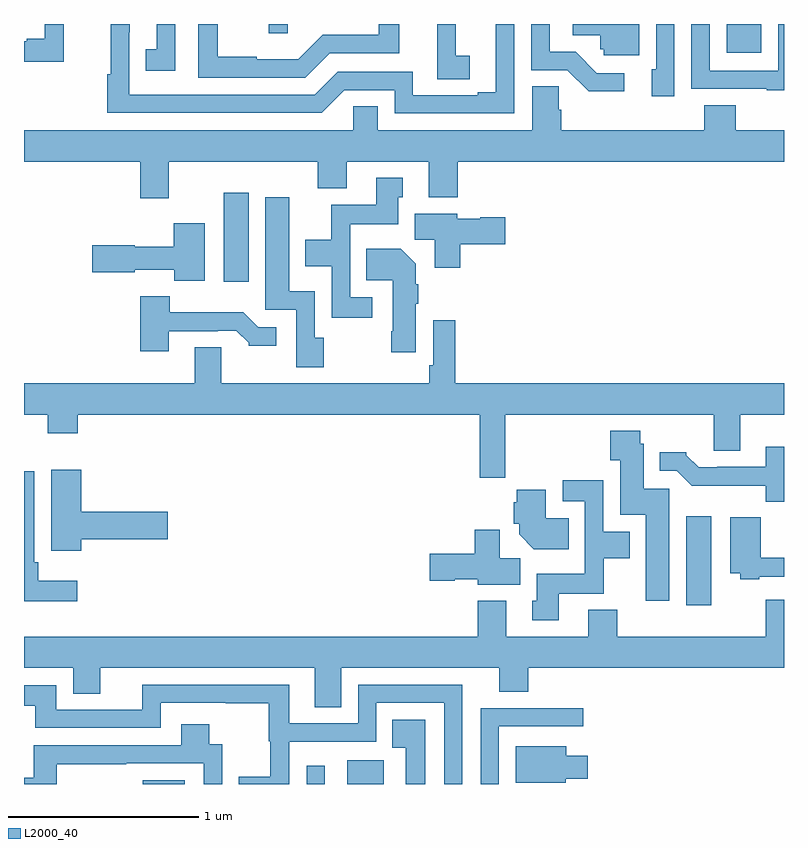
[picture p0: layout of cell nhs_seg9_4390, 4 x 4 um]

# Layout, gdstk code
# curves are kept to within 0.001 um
import gdstk
lib = gdstk.Library(unit=1e-6, precision=1e-09)
def R(c, l, rs):  # rectangles x0, y0, x1, y1
    for r in rs: c.add(gdstk.rectangle(r[:2], r[2:], *l))
def P(c, l, *ps):  # polygons
    for p in ps: c.add(gdstk.Polygon(p, *l))
L2000_40 = (2000, 40)

nhs_seg9_4390 = lib.new_cell('nhs_seg9_4390')
R(nhs_seg9_4390, L2000_40, [(363.624,1170.5,363.847,1170.52), (364.488,1170.5,364.584,1170.595), (364.7,1170.5,364.894,1170.624), (366.485,1171.44,366.616,1171.909), (364.052,1173.144,364.183,1173.613), (366.698,1174.349,366.88,1174.5), (364.288,1174.452,364.389,1174.5)])
P(nhs_seg9_4390, L2000_40, [(366.16,1174.242),(366.015,1174.242),(365.904,1174.353),(365.766,1174.353),(365.766,1174.5),(365.67,1174.5),(365.67,1174.257),(365.859,1174.257),(365.972,1174.145),(366.16,1174.145)],
  [(366.423,1174.5),(366.327,1174.5),(366.327,1174.263),(366.305,1174.263),(366.305,1174.119),(366.423,1174.119)],
  [(365.347,1174.332),(365.273,1174.332),(365.273,1174.5),(365.174,1174.5),(365.174,1174.321),(365.176,1174.321),(365.176,1174.21),(365.347,1174.21)],
  [(363.795,1174.5),(363.698,1174.5),(363.698,1174.367),(363.64,1174.367),(363.64,1174.254),(363.795,1174.254)],
  [(365.58,1174.5),(365.483,1174.5),(365.483,1174.14),(365.387,1174.14),(365.387,1174.125),(365.046,1174.125),(365.046,1174.248),(364.65,1174.248),(364.53,1174.128),(363.555,1174.128),(363.556,1174.5),(363.457,1174.5),(363.457,1174.235),(363.439,1174.235),(363.439,1174.032),(364.566,1174.032),(364.686,1174.152),(364.95,1174.152),(364.95,1174.029),(365.58,1174.029)],
  [(364.608,1174.347),(364.975,1174.347),(364.975,1174.5),(364.868,1174.5),(364.868,1174.443),(364.572,1174.443),(364.444,1174.315),(364.226,1174.315),(364.226,1174.327),(364.019,1174.327),(364.019,1174.5),(363.918,1174.5),(363.918,1174.218),(364.479,1174.218)],
  [(366.238,1174.5),(365.889,1174.5),(365.889,1174.442),(366.033,1174.442),(366.033,1174.368),(366.051,1174.368),(366.051,1174.335),(366.238,1174.335)],
  [(363.21,1174.5),(363.11,1174.5),(363.11,1174.423),(363.014,1174.423),(363.014,1174.41),(363,1174.41),(363,1174.302),(363.21,1174.302)],
  [(367,1174.5),(366.969,1174.5),(366.969,1174.254),(366.609,1174.254),(366.609,1174.5),(366.513,1174.5),(366.513,1174.158),(366.909,1174.158),(366.909,1174.151),(367,1174.151)],
  [(363.763,1173.776),(364.547,1173.776),(364.547,1173.635),(364.699,1173.635),(364.699,1173.776),(365.129,1173.776),(365.129,1173.587),(365.282,1173.587),(365.282,1173.776),(367,1173.776),(367,1173.94),(366.746,1173.94),(366.746,1174.073),(366.581,1174.073),(366.581,1173.94),(365.828,1173.94),(365.828,1174.049),(365.814,1174.049),(365.814,1174.172),(365.675,1174.172),(365.675,1173.94),(364.861,1173.94),(364.861,1174.067),(364.734,1174.067),(364.734,1173.94),(363,1173.94),(363,1173.776),(363.611,1173.776),(363.611,1173.582),(363.763,1173.582)],
  [(364.834,1173.063),(364.716,1173.063),(364.716,1173.446),(364.969,1173.446),(364.969,1173.588),(364.993,1173.588),(364.993,1173.691),(364.853,1173.691),(364.853,1173.55),(364.618,1173.55),(364.618,1173.364),(364.481,1173.364),(364.481,1173.224),(364.62,1173.224),(364.62,1172.955),(364.834,1172.955)],
  [(364.578,1172.85),(364.53,1172.85),(364.53,1173.094),(364.396,1173.094),(364.396,1173.589),(364.271,1173.589),(364.271,1172.997),(364.434,1172.997),(364.434,1172.694),(364.578,1172.694)],
  [(365.297,1173.341),(365.533,1173.341),(365.533,1173.483),(365.4,1173.483),(365.4,1173.475),(365.28,1173.475),(365.28,1173.502),(365.057,1173.502),(365.057,1173.364),(365.162,1173.364),(365.162,1173.216),(365.297,1173.216)],
  [(363.952,1173.451),(363.788,1173.451),(363.788,1173.328),(363.582,1173.328),(363.582,1173.336),(363.36,1173.336),(363.36,1173.194),(363.582,1173.194),(363.582,1173.206),(363.79,1173.206),(363.79,1173.149),(363.952,1173.149)],
  [(365.062,1173.028),(365.075,1173.028),(365.075,1173.131),(365.062,1173.131),(365.062,1173.238),(364.984,1173.316),(364.801,1173.316),(364.801,1173.152),(364.94,1173.152),(364.94,1172.884),(364.933,1172.884),(364.933,1172.772),(365.062,1172.772)],
  [(363.763,1172.883),(364.019,1172.883),(364.019,1172.886),(364.118,1172.886),(364.182,1172.822),(364.182,1172.807),(364.327,1172.807),(364.327,1172.904),(364.233,1172.904),(364.155,1172.983),(363.766,1172.983),(363.766,1173.067),(363.611,1173.067),(363.611,1172.778),(363.763,1172.778)],
  [(365.534,1172.444),(366.629,1172.444),(366.629,1172.254),(366.769,1172.254),(366.769,1172.444),(367,1172.444),(367,1172.608),(365.27,1172.608),(365.27,1172.941),(365.154,1172.941),(365.154,1172.704),(365.134,1172.704),(365.134,1172.608),(364.039,1172.608),(364.039,1172.798),(363.899,1172.798),(363.899,1172.608),(363,1172.608),(363,1172.444),(363.124,1172.444),(363.124,1172.345),(363.284,1172.345),(363.284,1172.444),(365.398,1172.444),(365.398,1172.112),(365.534,1172.112)],
  [(366.397,1172.055),(366.262,1172.055),(366.262,1172.292),(366.243,1172.292),(366.243,1172.359),(366.086,1172.359),(366.086,1172.203),(366.137,1172.203),(366.137,1171.916),(366.272,1171.916),(366.272,1171.464),(366.397,1171.464)],
  [(367,1172.275),(366.905,1172.275),(366.905,1172.169),(366.649,1172.169),(366.649,1172.166),(366.55,1172.166),(366.486,1172.23),(366.486,1172.245),(366.347,1172.245),(366.347,1172.148),(366.435,1172.148),(366.514,1172.07),(366.903,1172.07),(366.903,1171.985),(367,1171.985)],
  [(363.302,1171.787),(363.757,1171.787),(363.757,1171.934),(363.302,1171.934),(363.302,1172.155),(363.143,1172.155),(363.143,1171.728),(363.302,1171.728)],
  [(363.28,1171.57),(363.074,1171.57),(363.074,1171.666),(363.054,1171.666),(363.054,1172.146),(363,1172.146),(363,1171.463),(363.28,1171.463)],
  [(365.815,1171.502),(366.051,1171.502),(366.051,1171.688),(366.187,1171.688),(366.187,1171.828),(366.048,1171.828),(366.048,1172.098),(365.835,1172.098),(365.835,1171.989),(365.952,1171.989),(365.952,1171.606),(365.699,1171.606),(365.699,1171.464),(365.675,1171.464),(365.675,1171.362),(365.815,1171.362)],
  [(365.867,1171.9),(365.746,1171.9),(365.746,1172.05),(365.594,1172.05),(365.594,1171.983),(365.578,1171.983),(365.578,1171.869),(365.606,1171.869),(365.606,1171.814),(365.684,1171.736),(365.867,1171.736)],
  [(366.871,1171.59),(367,1171.59),(367,1171.691),(366.878,1171.691),(366.878,1171.903),(366.716,1171.903),(366.716,1171.61),(366.771,1171.61),(366.771,1171.578),(366.871,1171.578)],
  [(365.611,1171.688),(365.504,1171.688),(365.504,1171.837),(365.372,1171.837),(365.372,1171.712),(365.136,1171.712),(365.136,1171.57),(365.268,1171.57),(365.268,1171.577),(365.388,1171.577),(365.388,1171.55),(365.611,1171.55)],
  [(364.669,1171.112),(365.501,1171.112),(365.501,1170.985),(365.654,1170.985),(365.654,1171.112),(367,1171.112),(367,1171.471),(366.905,1171.471),(366.905,1171.276),(366.122,1171.276),(366.122,1171.417),(365.969,1171.417),(365.969,1171.276),(365.539,1171.276),(365.539,1171.465),(365.387,1171.465),(365.387,1171.276),(363,1171.276),(363,1171.112),(363.26,1171.112),(363.26,1170.976),(363.4,1170.976),(363.4,1171.112),(364.529,1171.112),(364.529,1170.904),(364.669,1170.904)],
  [(364.395,1170.723),(364.854,1170.723),(364.854,1170.927),(365.211,1170.927),(365.211,1170.5),(365.307,1170.5),(365.307,1171.023),(364.758,1171.023),(364.758,1170.819),(364.396,1170.819),(364.396,1171.023),(363.622,1171.023),(363.622,1170.891),(363.171,1170.891),(363.171,1171.02),(363,1171.02),(363,1170.912),(363.059,1170.912),(363.059,1170.795),(363.72,1170.795),(363.72,1170.927),(364.063,1170.927),(364.063,1170.925),(364.287,1170.925),(364.287,1170.726),(364.297,1170.726),(364.297,1170.538),(364.131,1170.538),(364.131,1170.5),(364.395,1170.5)],
  [(365.499,1170.804),(365.944,1170.804),(365.944,1170.9),(365.403,1170.9),(365.403,1170.5),(365.499,1170.5)],
  [(365.113,1170.838),(364.939,1170.838),(364.939,1170.692),(365.009,1170.692),(365.009,1170.5),(365.113,1170.5)],
  [(363.172,1170.604),(363.539,1170.604),(363.539,1170.609),(363.947,1170.609),(363.947,1170.5),(364.044,1170.5),(364.044,1170.708),(363.975,1170.708),(363.975,1170.814),(363.827,1170.814),(363.827,1170.705),(363.051,1170.705),(363.051,1170.532),(363,1170.532),(363,1170.5),(363.172,1170.5)],
  [(365.85,1170.527),(365.968,1170.527),(365.968,1170.649),(365.854,1170.649),(365.854,1170.7),(365.589,1170.7),(365.589,1170.506),(365.85,1170.506)])

lib.write_gds('nhs_seg9_4390.gds')
